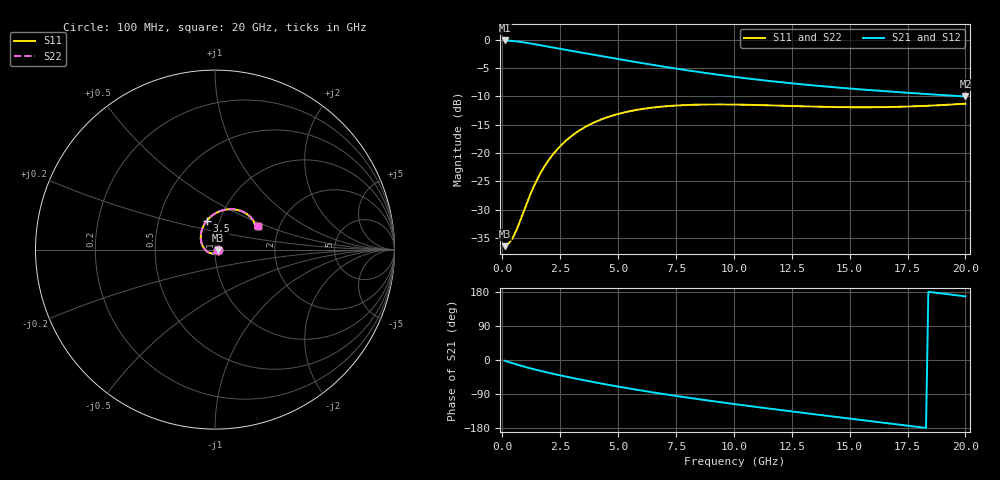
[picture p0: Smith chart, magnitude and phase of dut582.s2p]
! Touchstone file exported from HFSS 2024.1.0
!  File:  C:/UserFiles/LocalFiles/RDL_TSV_Batchsim/temp_RDL_TSV_582_1779757217.aedt
!  Generated:  09:15:32 AM May 26, 2026
!  Design:  RDL_TSV
!  Project:  temp_RDL_TSV_582_1779757217
!  Setup:  Setup1
!  Solution:  Sweep
! Variables:
!  dtsv = 14.29um
!  hbump = 3um
!  htsv = 90.43um
!  ldown = 560.59um
!  lrdl = 168.06um
!  p = 40
!  p1 = 53.16um
!  rhole = 10um
!  subl = 2354.01um
!  t = 450um
!  tdown = 3.39um
!  trdl = 4.45um
!  viad = 10um
!  wdown = 13.99um
!  wrdl = 26.23um
!  xbump = 18um
# GHz S MA R 50.000000
! Terminal data exported
! Port[1] = TM1_1_T1
! Port[2] = TM1_4_T1
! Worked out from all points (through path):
!   200 points, 100 MHz to 20 GHz, reference 50 ohm
!   highest |S21| = -0.14 dB at 100 MHz (marker M1); lowest = -10.0 dB at 20 GHz (marker M2)
!   group delay of S21, straight-line fit = 24.8 ps
!   lowest |S11| = -36.5 dB at 100 MHz (marker M3), VSWR 1.03, Z = 51.5 - j0.41 ohm
!   |S11| at or under -10 dB: start of sweep to end of sweep
!   |S22| runs from -36.5 to -11.3 dB; largest |S21 - S12| = 7.6e-15
!   S11 on the Smith chart (normalised r, x): 100 MHz: 1.03, -0.01; 3.5 GHz: 0.87, +0.28; 20 GHz: 1.54, +0.45
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0.1  0.01504 -15.4  0.9844 -2.0  0.9844 -2.0  0.01504 -15.4
! Gamma 0 0 0 0
! Port Impedance 50 0 50 0
0.3  0.01617 -47.7  0.9797 -5.8  0.9797 -5.8  0.01616 -47.7
0.5  0.01862 -80.6  0.9719 -9.6  0.9719 -9.6  0.01861 -80.7
0.9  0.02959 -134.8  0.9488 -16.7  0.9488 -16.7  0.02961 -134.9
1.3  0.04754 -170.2  0.92 -23.4  0.92 -23.4  0.04761 -170.3
1.6  0.06357 171.0  0.897 -28.0  0.897 -28.0  0.06369 170.9
1.9  0.08058 156.1  0.8741 -32.4  0.8741 -32.4  0.08076 156.0
2.2  0.09784 143.7  0.8517 -36.5  0.8517 -36.5  0.09806 143.7
2.6  0.1204 130.0  0.8232 -41.9  0.8232 -41.9  0.1207 130.0
3  0.1416 118.6  0.796 -47.0  0.796 -47.0  0.142 118.5
3.5  0.1659 106.5  0.7636 -53.1  0.7636 -53.1  0.1664 106.5
4.2  0.1949 92.7  0.7209 -61.3  0.7209 -61.3  0.1955 92.7
4.9  0.2181 81.3  0.6807 -69.1  0.6807 -69.1  0.2187 81.4
5.8  0.2399 69.5  0.6331 -78.5  0.6331 -78.5  0.2407 69.5
6.8  0.2556 59.0  0.5855 -88.3  0.5855 -88.3  0.2564 59.1
8.4  0.2667 46.6  0.5213 -102.8  0.5213 -102.8  0.2677 46.7
10.1  0.2672 37.7  0.4677 -116.9  0.4677 -116.9  0.2683 37.8
11.7  0.2627 32.5  0.4284 -129.6  0.4284 -129.6  0.2638 32.5
13.4  0.2568 29.4  0.3954 -142.6  0.3954 -142.6  0.2579 29.4
15  0.2534 28.4  0.3706 -154.6  0.3706 -154.6  0.2546 28.4
16.7  0.2544 28.5  0.3489 -167.3  0.3489 -167.3  0.2555 28.5
20  0.2723 29.4  0.3153 168.0  0.3153 168.0  0.2733 29.4
